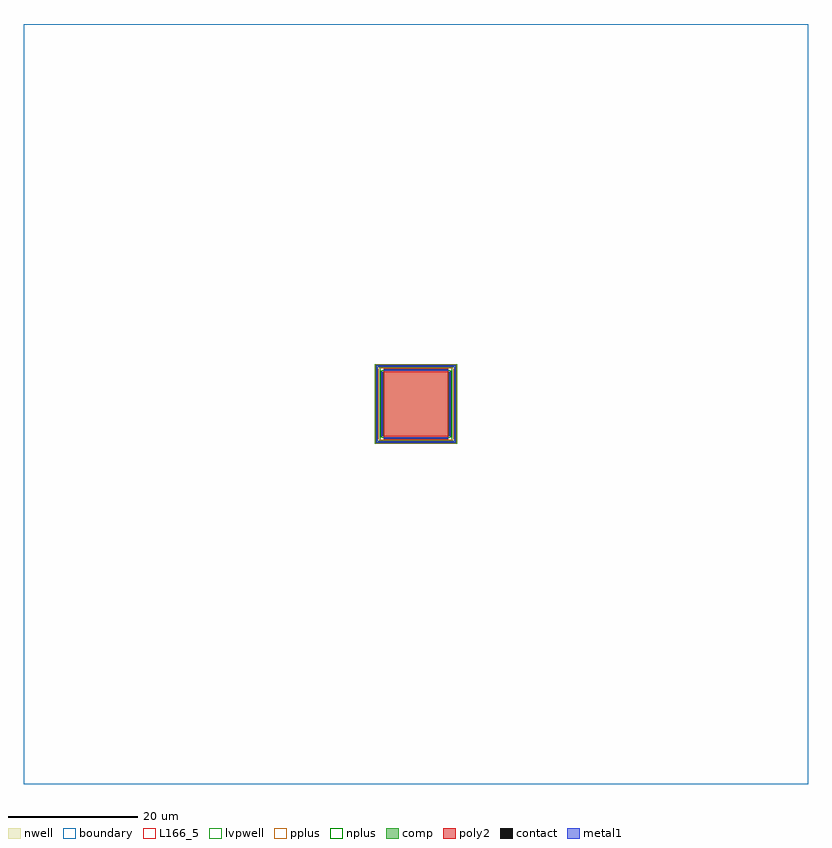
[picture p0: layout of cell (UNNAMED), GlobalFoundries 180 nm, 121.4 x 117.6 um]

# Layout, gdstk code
import gdstk
lib = gdstk.Library(unit=1e-6, precision=1e-09)
def R(c, l, rs):  # rectangles x0, y0, x1, y1
    for r in rs: c.add(gdstk.rectangle(r[:2], r[2:], *l))
def A(c, l, x, y, w, h, nx, ny, dx, dy):  # array of equal rectangles
    R(c, l, [(x+i*dx, y+j*dy, x+i*dx+w, y+j*dy+h) for i in range(nx) for j in range(ny)])
boundary = (0, 0)
nwell = (21, 0)
comp = (22, 0)
poly2 = (30, 0)
pplus = (31, 0)
nplus = (32, 0)
contact = (33, 0)
metal1 = (34, 0)
L166_5 = (166, 5)
lvpwell = (204, 0)

c__unnamed_ = lib.new_cell('(UNNAMED)')
R(c__unnamed_, boundary, [(-60.7,-58.8,60.7,58.8)])
R(c__unnamed_, nwell, [(-5.56,-5.58,5.56,5.58)])
R(c__unnamed_, comp, [(-6.25,-6.06,6.25,-5.7), (-6.25,-5.7,-5.89,5.7), (5.89,-5.7,6.25,5.7), (-5.44,-5,-5,5), (5,-5,5.44,5), (-6.25,5.7,6.25,6.06)])
R(c__unnamed_, poly2, [(-5,-5.46,5,5.46)])
R(c__unnamed_, pplus, [(-6.15,-6.17,6.15,-6.08), (-6.27,-6.08,6.27,-5.575), (-6.28,-5.575,6.28,-5.54), (-6.28,-5.54,-5.73,5.54), (5.73,-5.54,6.28,5.54), (-6.28,5.54,6.28,5.575), (-6.27,5.575,6.27,6.08), (-6.15,6.08,6.15,6.17)])
R(c__unnamed_, nplus, [(-5.23,-5.23,5.23,-5.16), (-5.6,-5.16,5.6,5.16), (-5.23,5.16,5.23,5.23)])
A(c__unnamed_, contact, -4.81, -5.39, 0.22, 0.22, 21, 2, 0.47, 10.56)
A(c__unnamed_, contact, -6.18, -5.28, 0.22, 0.22, 1, 23, 0, 0.47)
A(c__unnamed_, contact, 5.96, -5.28, 0.22, 0.22, 1, 23, 0, 0.47)
A(c__unnamed_, contact, -5.37, -4.81, 0.22, 0.22, 1, 21, 0, 0.47)
A(c__unnamed_, contact, 5.15, -4.81, 0.22, 0.22, 1, 21, 0, 0.47)
R(c__unnamed_, metal1, [(-6.185,-5.995,6.185,-5.765), (-6.185,-5.765,-5.955,5.765), (5.955,-5.765,6.185,5.765), (-4.99,-5.395,4.99,-5.165), (-5.375,-4.99,-5.145,4.99), (5.145,-4.99,5.375,4.99), (-4.99,5.165,4.99,5.395), (-6.185,5.765,6.185,5.995)])
R(c__unnamed_, L166_5, [(-5,-5,5,5)])
R(c__unnamed_, lvpwell, [(-6.37,-6.18,6.37,-5.58), (-6.37,-5.58,-5.56,5.58), (5.56,-5.58,6.37,5.58), (-6.37,5.58,6.37,6.18)])

lib.write_gds('_UNNAMED_.gds')
